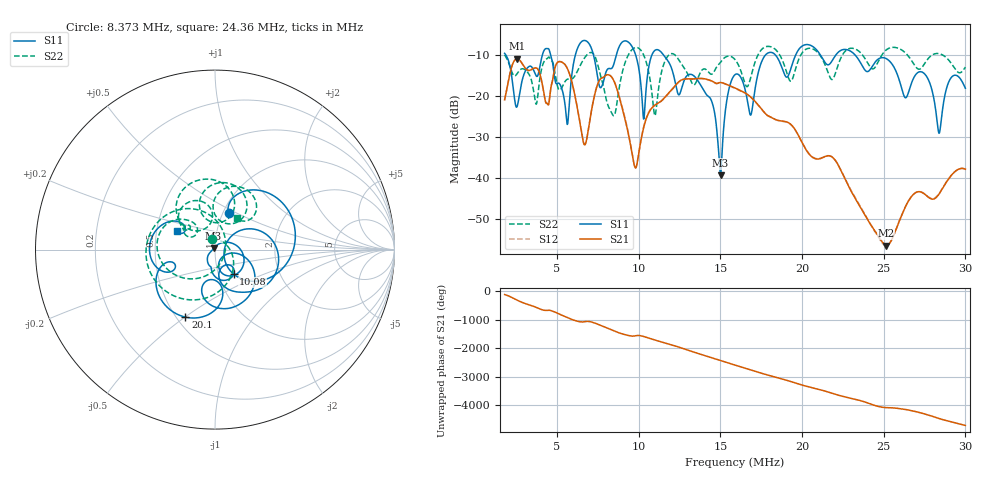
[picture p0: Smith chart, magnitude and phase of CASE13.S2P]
!Agilent Technologies,E5061B,MY49101568,A.02.00
!Date: Wed Mar 01 14:34:12 2023
!Data & Calibration Information:
!Freq	S11:SOLT2(OFF)	S21:SOLT2(OFF)	S12:SOLT2(OFF)	S22:SOLT2(OFF)
# Hz S dB R 50
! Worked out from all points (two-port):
!   1155 points, 1.8 MHz to 30 MHz, reference 50 ohm
!   highest |S21| = -11.01 dB at 2.582 MHz (marker M1); lowest = -56.4 dB at 25.14 MHz (marker M2)
!   |S21| within 3 dB of the highest: 2.163 MHz to 3.894 MHz (1.73 MHz wide, 57.1 % of centre); 4.829 MHz to 5.708 MHz (879 kHz wide, 16.7 % of centre)
!   lowest |S11| = -39.3 dB at 15.02 MHz (marker M3), VSWR 1.02, Z = 49.2 + j0.683 ohm
!   |S11| at or under -10 dB: 1.856 MHz to 4.119 MHz (2.262 MHz wide, 75.7 % of centre); 11.51 MHz to 17.79 MHz (6.283 MHz wide, 42.9 % of centre); 23.23 MHz to end of sweep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
!   |S22| runs from -24.9 to -8.0 dB; largest |S21 - S12| = 0.0045
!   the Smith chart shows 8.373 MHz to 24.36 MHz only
!   S11 on the Smith chart (normalised r, x): 8.373 MHz: 1.07, +0.45; 10.08 MHz: 1.18, -0.33; 20.1 MHz: 0.55, -0.50; 24.36 MHz: 0.64, +0.14
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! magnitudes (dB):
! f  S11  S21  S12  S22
! 1.8 MHz  -9.7  -21.0  -21.1  -10.1
! 2.582 MHz  -22.4  -11.0  -11.0  -14.5
! 3.731 MHz  -15.2  -13.2  -13.3  -22.1
! 4.39 MHz  -8.6  -21.8  -21.9  -11.0
! 5.637 MHz  -27.0  -13.4  -13.3  -16.0
! 6.516 MHz  -6.8  -29.2  -28.9  -12.0
! 8.373 MHz  -13.3  -15.6  -15.6  -24.4
! 10.08 MHz  -15.3  -32.2  -32.0  -8.7
! 11.21 MHz  -8.9  -21.8  -21.8  -18.7
! 14.38 MHz  -20.6  -16.3  -16.3  -14.7
! 15.02 MHz  -39.3  -16.8  -16.8  -11.8
! 15.9 MHz  -14.9  -18.1  -18.2  -11.2
! 16.85 MHz  -24.7  -20.3  -20.3  -15.7
! 17.73 MHz  -10.3  -24.2  -24.3  -8.2
! 20.1 MHz  -7.7  -32.1  -32.1  -9.1
! 20.62 MHz  -7.9  -34.9  -34.8  -8.6
! 24.36 MHz  -12.5  -52.2  -52.3  -13.5
! 25.14 MHz  -10.9  -56.4  -56.4  -8.9
! 25.31 MHz  -11.4  -56.0  -56.1  -8.5
! 27.58 MHz  -15.1  -44.1  -44.1  -11.7
! 28.39 MHz  -29.1  -43.9  -43.8  -9.8
! 30 MHz  -18.2  -37.9  -37.8  -13.0
